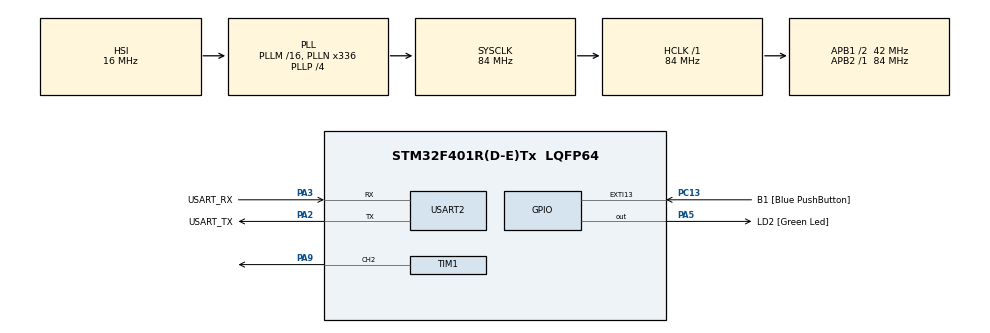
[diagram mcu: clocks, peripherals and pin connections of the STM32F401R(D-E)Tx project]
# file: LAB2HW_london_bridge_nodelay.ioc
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Mcu.Family=STM32F4
Mcu.Name=STM32F401R(D-E)Tx
Mcu.Package=LQFP64
Mcu.UserConstants=TIM1_PRESCALER,4000
NVIC.PriorityGroup=NVIC_PRIORITYGROUP_0
NVIC.TIM2_IRQn=true\:0\:0\:false\:false\:true\:true\:true
PA13.GPIO_Label=TMS
PA13.Mode=Serial_Wire
PA13.Signal=SYS_JTMS-SWDIO
PA14.GPIO_Label=TCK
PA14.Mode=Serial_Wire
PA14.Signal=SYS_JTCK-SWCLK
PA2.GPIO_Label=USART_TX
PA2.GPIO_Mode=GPIO_MODE_AF_PP
PA2.GPIO_PuPd=GPIO_NOPULL
PA2.GPIO_Speed=GPIO_SPEED_FREQ_LOW
PA2.Mode=Asynchronous
PA2.Signal=USART2_TX
PA3.GPIO_Label=USART_RX
PA3.GPIO_Mode=GPIO_MODE_AF_PP
PA3.GPIO_PuPd=GPIO_NOPULL
PA3.GPIO_Speed=GPIO_SPEED_FREQ_LOW
PA3.Mode=Asynchronous
PA3.Signal=USART2_RX
PA5.GPIO_Label=LD2 [Green Led]
PA5.GPIO_Mode=GPIO_MODE_OUTPUT_PP
PA5.GPIO_PuPd=GPIO_NOPULL
PA5.GPIO_Speed=GPIO_SPEED_FREQ_LOW
PA5.Signal=GPIO_Output
PA9.Signal=S_TIM1_CH2
PB3.GPIO_Label=SWO
PB3.Signal=SYS_JTDO-SWO
PC13-ANTI_TAMP.GPIO_Label=B1 [Blue PushButton]
PC13-ANTI_TAMP.GPIO_ModeDefaultEXTI=GPIO_MODE_IT_FALLING
PC13-ANTI_TAMP.GPIO_PuPd=GPIO_NOPULL
PC13-ANTI_TAMP.Signal=GPXTI13
PC14-OSC32_IN.Mode=LSE-External-Oscillator
PC14-OSC32_IN.Signal=RCC_OSC32_IN
PC15-OSC32_OUT.Mode=LSE-External-Oscillator
PC15-OSC32_OUT.Signal=RCC_OSC32_OUT
PH0\ -\ OSC_IN.Mode=HSE-External-Clock-Source
PH0\ -\ OSC_IN.Signal=RCC_OSC_IN
PH1\ -\ OSC_OUT.Mode=HSE-External-Clock-Source
PH1\ -\ OSC_OUT.Signal=RCC_OSC_OUT
ProjectManager.HeapSize=0x200
ProjectManager.StackSize=0x400
ProjectManager.TargetToolchain=STM32CubeIDE
RCC.48MHZClocksFreq_Value=48000000
RCC.AHBFreq_Value=84000000
RCC.APB1CLKDivider=RCC_HCLK_DIV2
RCC.APB1Freq_Value=42000000
RCC.APB1TimFreq_Value=84000000
RCC.APB2Freq_Value=84000000
RCC.APB2TimFreq_Value=84000000
RCC.CortexFreq_Value=84000000
RCC.HCLKFreq_Value=84000000
RCC.HSE_VALUE=8000000
RCC.HSI_VALUE=16000000
RCC.PLLN=336
RCC.PLLP=RCC_PLLP_DIV4
RCC.PLLQ=7
RCC.SYSCLKFreq_VALUE=84000000
RCC.SYSCLKSource=RCC_SYSCLKSOURCE_PLLCLK
RCC.VCOOutputFreq_Value=336000000
SH.S_TIM1_CH2.0=TIM1_CH2,PWM Generation2 CH2
TIM1.Channel-PWM\ Generation2\ CH2=TIM_CHANNEL_2
TIM1.Period=0
TIM1.Prescaler=TIM1_PRESCALER-1
TIM2.AutoReloadPreload=TIM_AUTORELOAD_PRELOAD_ENABLE
TIM2.Period=800
TIM2.Prescaler=4000
USART2.VirtualMode=VM_ASYNC
VP_TIM1_VS_ClockSourceINT.Mode=Internal
VP_TIM2_VS_ClockSourceINT.Mode=Internal
board=NUCLEO-F401RE

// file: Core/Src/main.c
/* USER CODE BEGIN Header */
/**
  ******************************************************************************
  * @file           : main.c
  * @brief          : Main program body
  ******************************************************************************
  * @attention
  *
  * <h2><center>&copy; Copyright (c) 2021 STMicroelectronics.
  * All rights reserved.</center></h2>
  *
  * This software component is licensed by ST under BSD 3-Clause license,
  * the "License"; You may not use this file except in compliance with the
  * License. You may obtain a copy of the License at:
  *                        opensource.org/licenses/BSD-3-Clause
  *
  ******************************************************************************
  */
/* USER CODE END Header */
#include "main.h"

/* USER CODE BEGIN Includes */
#include "stm32f4xx.h"
/* USER CODE END Includes */

/* USER CODE BEGIN PTD */
typedef struct  {
	int freq_ticks;
	int duration_ticks;
} note;

/* USER CODE END PTD */

/* USER CODE BEGIN PD */
#define C4 FREQ_TO_TICKS(262)
#define D4 FREQ_TO_TICKS(294)
#define E4 FREQ_TO_TICKS(330)
#define F4 FREQ_TO_TICKS(349)
#define G4 FREQ_TO_TICKS(392)
#define A5 FREQ_TO_TICKS(440)
#define B5 FREQ_TO_TICKS(494)

#define CLOCK_FREQ 84e6
// #define TIM1_PRESCALER 4000

#define SONG_LENGTH 13

#define BASE_MS 200

/* USER CODE END PD */

/* USER CODE BEGIN PM */
#define FREQ_TO_TICKS(freq) CLOCK_FREQ/(TIM1_PRESCALER*freq)

// #define MS_TO_TICKS(time) ... -- timer version
/* USER CODE END PM */

TIM_HandleTypeDef htim1;
TIM_HandleTypeDef htim2;

UART_HandleTypeDef huart2;

/* USER CODE BEGIN PV */
note song[SONG_LENGTH+1];
int song_index = 0;

int song_playing = 0;

/* USER CODE END PV */

void SystemClock_Config(void);
static void MX_GPIO_Init(void);
static void MX_USART2_UART_Init(void);
static void MX_TIM1_Init(void);
static void MX_TIM2_Init(void);

/* USER CODE BEGIN 0 */

void my_timer_load(int ticks)
{

  /* USER CODE BEGIN TIM1_Init 0 */

  /* USER CODE END TIM1_Init 0 */

  TIM_ClockConfigTypeDef sClockSourceConfig = {0};
  TIM_MasterConfigTypeDef sMasterConfig = {0};
  TIM_OC_InitTypeDef sConfigOC = {0};
  TIM_BreakDeadTimeConfigTypeDef sBreakDeadTimeConfig = {0};

  /* USER CODE BEGIN TIM1_Init 1 */

  /* USER CODE END TIM1_Init 1 */
  htim1.Instance = TIM1;
  htim1.Init.Prescaler = TIM1_PRESCALER-1;
  htim1.Init.CounterMode = TIM_COUNTERMODE_UP;
  htim1.Init.Period = ticks;
  htim1.Init.ClockDivision = TIM_CLOCKDIVISION_DIV1;
  htim1.Init.RepetitionCounter = 0;
  htim1.Init.AutoReloadPreload = TIM_AUTORELOAD_PRELOAD_DISABLE;
  if (HAL_TIM_Base_Init(&htim1) != HAL_OK)
  {
    Error_Handler();
  }
  sClockSourceConfig.ClockSource = TIM_CLOCKSOURCE_INTERNAL;
  if (HAL_TIM_ConfigClockSource(&htim1, &sClockSourceConfig) != HAL_OK)
  {
    Error_Handler();
  }
  if (HAL_TIM_PWM_Init(&htim1) != HAL_OK)
  {
    Error_Handler();
  }
  sMasterConfig.MasterOutputTrigger = TIM_TRGO_RESET;
  sMasterConfig.MasterSlaveMode = TIM_MASTERSLAVEMODE_DISABLE;
  if (HAL_TIMEx_MasterConfigSynchronization(&htim1, &sMasterConfig) != HAL_OK)
  {
    Error_Handler();
  }
  sConfigOC.OCMode = TIM_OCMODE_PWM1;
  sConfigOC.Pulse = ticks/2;
  sConfigOC.OCPolarity = TIM_OCPOLARITY_HIGH;
  sConfigOC.OCNPolarity = TIM_OCNPOLARITY_HIGH;
  sConfigOC.OCFastMode = TIM_OCFAST_DISABLE;
  sConfigOC.OCIdleState = TIM_OCIDLESTATE_RESET;
  sConfigOC.OCNIdleState = TIM_OCNIDLESTATE_RESET;
  if (HAL_TIM_PWM_ConfigChannel(&htim1, &sConfigOC, TIM_CHANNEL_2) != HAL_OK)
  {
    Error_Handler();
  }
  sBreakDeadTimeConfig.OffStateRunMode = TIM_OSSR_DISABLE;
  sBreakDeadTimeConfig.OffStateIDLEMode = TIM_OSSI_DISABLE;
  sBreakDeadTimeConfig.LockLevel = TIM_LOCKLEVEL_OFF;
  sBreakDeadTimeConfig.DeadTime = 0;
  sBreakDeadTimeConfig.BreakState = TIM_BREAK_DISABLE;
  sBreakDeadTimeConfig.BreakPolarity = TIM_BREAKPOLARITY_HIGH;
  sBreakDeadTimeConfig.AutomaticOutput = TIM_AUTOMATICOUTPUT_DISABLE;
  if (HAL_TIMEx_ConfigBreakDeadTime(&htim1, &sBreakDeadTimeConfig) != HAL_OK)
  {
    Error_Handler();
  }
  /* USER CODE BEGIN TIM1_Init 2 */

  /* USER CODE END TIM1_Init 2 */
  HAL_TIM_MspPostInit(&htim1);

}
void HAL_TIM_PeriodElapsedCallback(TIM_HandleTypeDef *htim)
{
	static int current_note = 0;
	static int remaining_ticks = 0;

	if(current_note < SONG_LENGTH+1){
		// if it's time for the next note AND it's not last note yet
		if((remaining_ticks == 0)){
			// load next note
			my_timer_load(song[current_note].freq_ticks);
			remaining_ticks = song[current_note].duration_ticks;
			  HAL_TIM_PWM_Start(&htim1, TIM_CHANNEL_2);
			current_note++; // advance note
		}
		else {
			// downcount ticks
			remaining_ticks--;
		}
	}
}

/* USER CODE END 0 */

int main(void)
{
  /* USER CODE BEGIN 1 */
  // time is multiplied by 4 so that we get an integer amount of ticks
	song[ 0].freq_ticks = G4;    song[ 0].duration_ticks = 1.25	*4; // lon
	song[ 1].freq_ticks = A5;	 song[ 1].duration_ticks = 0.75	*4; // don
	song[ 2].freq_ticks = G4;	 song[ 2].duration_ticks = 1	*4; // bridge
	song[ 3].freq_ticks = F4;	 song[ 3].duration_ticks = 1	*4; // is
	song[ 4].freq_ticks = E4;	 song[ 4].duration_ticks = 1	*4; // fal
	song[ 5].freq_ticks = F4;	 song[ 5].duration_ticks = 1	*4; // ling
	song[ 6].freq_ticks = G4;	 song[ 6].duration_ticks = 2	*4; // down
	song[ 7].freq_ticks = D4;	 song[ 7].duration_ticks = 1	*4; // fal
	song[ 8].freq_ticks = E4;	 song[ 8].duration_ticks = 1	*4; // ling
	song[ 9].freq_ticks = F4;	 song[ 9].duration_ticks = 2	*4; // down
	song[10].freq_ticks = E4;	 song[10].duration_ticks = 1	*4; // fal
	song[11].freq_ticks = F4;	 song[11].duration_ticks = 1	*4; // ling
	song[12].freq_ticks = G4;	 song[12].duration_ticks = 2	*4; // down

	// +++ END +++
	song[SONG_LENGTH].freq_ticks =  0;
	song[SONG_LENGTH].duration_ticks = 1*BASE_MS;

  /* USER CODE END 1 */

  /* MCU Configuration--------------------------------------------------------*/

  /* Reset of all peripherals, Initializes the Flash interface and the Systick. */
  HAL_Init();

  /* Configure the system clock */
  SystemClock_Config();

  /* Initialize all configured peripherals */
  MX_GPIO_Init();
  MX_USART2_UART_Init();
  MX_TIM1_Init();
  MX_TIM2_Init();
  /* USER CODE BEGIN 2 */

 if(HAL_TIM_Base_Start_IT(&htim2) != HAL_OK){
	  Error_Handler();
  }

  /* USER CODE END 2 */

  /* Infinite loop */
  while (1)
  {

  }
}

void SystemClock_Config(void)
{
  RCC_OscInitTypeDef RCC_OscInitStruct = {0};
  RCC_ClkInitTypeDef RCC_ClkInitStruct = {0};

  /** Configure the main internal regulator output voltage
  */
  __HAL_RCC_PWR_CLK_ENABLE();
  __HAL_PWR_VOLTAGESCALING_CONFIG(PWR_REGULATOR_VOLTAGE_SCALE2);
  /** Initializes the RCC Oscillators according to the specified parameters
  * in the RCC_OscInitTypeDef structure.
  */
  RCC_OscInitStruct.OscillatorType = RCC_OSCILLATORTYPE_HSI;
  RCC_OscInitStruct.HSIState = RCC_HSI_ON;
  RCC_OscInitStruct.HSICalibrationValue = RCC_HSICALIBRATION_DEFAULT;
  RCC_OscInitStruct.PLL.PLLState = RCC_PLL_ON;
  RCC_OscInitStruct.PLL.PLLSource = RCC_PLLSOURCE_HSI;
  RCC_OscInitStruct.PLL.PLLM = 16;
  RCC_OscInitStruct.PLL.PLLN = 336;
  RCC_OscInitStruct.PLL.PLLP = RCC_PLLP_DIV4;
  RCC_OscInitStruct.PLL.PLLQ = 7;
  if (HAL_RCC_OscConfig(&RCC_OscInitStruct) != HAL_OK)
  {
    Error_Handler();
  }
  /** Initializes the CPU, AHB and APB buses clocks
  */
  RCC_ClkInitStruct.ClockType = RCC_CLOCKTYPE_HCLK|RCC_CLOCKTYPE_SYSCLK
                              |RCC_CLOCKTYPE_PCLK1|RCC_CLOCKTYPE_PCLK2;
  RCC_ClkInitStruct.SYSCLKSource = RCC_SYSCLKSOURCE_PLLCLK;
  RCC_ClkInitStruct.AHBCLKDivider = RCC_SYSCLK_DIV1;
  RCC_ClkInitStruct.APB1CLKDivider = RCC_HCLK_DIV2;
  RCC_ClkInitStruct.APB2CLKDivider = RCC_HCLK_DIV1;

  if (HAL_RCC_ClockConfig(&RCC_ClkInitStruct, FLASH_LATENCY_2) != HAL_OK)
  {
    Error_Handler();
  }
}

static void MX_TIM1_Init(void)
{

  TIM_ClockConfigTypeDef sClockSourceConfig = {0};
  TIM_MasterConfigTypeDef sMasterConfig = {0};
  TIM_OC_InitTypeDef sConfigOC = {0};
  TIM_BreakDeadTimeConfigTypeDef sBreakDeadTimeConfig = {0};

  htim1.Instance = TIM1;
  htim1.Init.Prescaler = TIM1_PRESCALER-1;
  htim1.Init.CounterMode = TIM_COUNTERMODE_UP;
  htim1.Init.Period = 0;
  htim1.Init.ClockDivision = TIM_CLOCKDIVISION_DIV1;
  htim1.Init.RepetitionCounter = 0;
  htim1.Init.AutoReloadPreload = TIM_AUTORELOAD_PRELOAD_DISABLE;
  if (HAL_TIM_Base_Init(&htim1) != HAL_OK)
  {
    Error_Handler();
  }
  sClockSourceConfig.ClockSource = TIM_CLOCKSOURCE_INTERNAL;
  if (HAL_TIM_ConfigClockSource(&htim1, &sClockSourceConfig) != HAL_OK)
  {
    Error_Handler();
  }
  if (HAL_TIM_PWM_Init(&htim1) != HAL_OK)
  {
    Error_Handler();
  }
  sMasterConfig.MasterOutputTrigger = TIM_TRGO_RESET;
  sMasterConfig.MasterSlaveMode = TIM_MASTERSLAVEMODE_DISABLE;
  if (HAL_TIMEx_MasterConfigSynchronization(&htim1, &sMasterConfig) != HAL_OK)
  {
    Error_Handler();
  }
  sConfigOC.OCMode = TIM_OCMODE_PWM1;
  sConfigOC.Pulse = 0;
  sConfigOC.OCPolarity = TIM_OCPOLARITY_HIGH;
  sConfigOC.OCNPolarity = TIM_OCNPOLARITY_HIGH;
  sConfigOC.OCFastMode = TIM_OCFAST_DISABLE;
  sConfigOC.OCIdleState = TIM_OCIDLESTATE_RESET;
  sConfigOC.OCNIdleState = TIM_OCNIDLESTATE_RESET;
  if (HAL_TIM_PWM_ConfigChannel(&htim1, &sConfigOC, TIM_CHANNEL_2) != HAL_OK)
  {
    Error_Handler();
  }
  sBreakDeadTimeConfig.OffStateRunMode = TIM_OSSR_DISABLE;
  sBreakDeadTimeConfig.OffStateIDLEMode = TIM_OSSI_DISABLE;
  sBreakDeadTimeConfig.LockLevel = TIM_LOCKLEVEL_OFF;
  sBreakDeadTimeConfig.DeadTime = 0;
  sBreakDeadTimeConfig.BreakState = TIM_BREAK_DISABLE;
  sBreakDeadTimeConfig.BreakPolarity = TIM_BREAKPOLARITY_HIGH;
  sBreakDeadTimeConfig.AutomaticOutput = TIM_AUTOMATICOUTPUT_DISABLE;
  if (HAL_TIMEx_ConfigBreakDeadTime(&htim1, &sBreakDeadTimeConfig) != HAL_OK)
  {
    Error_Handler();
  }
  HAL_TIM_MspPostInit(&htim1);

}

static void MX_TIM2_Init(void)
{

  TIM_ClockConfigTypeDef sClockSourceConfig = {0};
  TIM_MasterConfigTypeDef sMasterConfig = {0};

  htim2.Instance = TIM2;
  htim2.Init.Prescaler = 4000;
  htim2.Init.CounterMode = TIM_COUNTERMODE_UP;
  htim2.Init.Period = 800;
  htim2.Init.ClockDivision = TIM_CLOCKDIVISION_DIV1;
  htim2.Init.AutoReloadPreload = TIM_AUTORELOAD_PRELOAD_ENABLE;
  if (HAL_TIM_Base_Init(&htim2) != HAL_OK)
  {
    Error_Handler();
  }
  sClockSourceConfig.ClockSource = TIM_CLOCKSOURCE_INTERNAL;
  if (HAL_TIM_ConfigClockSource(&htim2, &sClockSourceConfig) != HAL_OK)
  {
    Error_Handler();
  }
  sMasterConfig.MasterOutputTrigger = TIM_TRGO_RESET;
  sMasterConfig.MasterSlaveMode = TIM_MASTERSLAVEMODE_DISABLE;
  if (HAL_TIMEx_MasterConfigSynchronization(&htim2, &sMasterConfig) != HAL_OK)
  {
    Error_Handler();
  }

}

static void MX_USART2_UART_Init(void)
{

  huart2.Instance = USART2;
  huart2.Init.BaudRate = 115200;
  huart2.Init.WordLength = UART_WORDLENGTH_8B;
  huart2.Init.StopBits = UART_STOPBITS_1;
  huart2.Init.Parity = UART_PARITY_NONE;
  huart2.Init.Mode = UART_MODE_TX_RX;
  huart2.Init.HwFlowCtl = UART_HWCONTROL_NONE;
  huart2.Init.OverSampling = UART_OVERSAMPLING_16;
  if (HAL_UART_Init(&huart2) != HAL_OK)
  {
    Error_Handler();
  }

}

static void MX_GPIO_Init(void)
{
  GPIO_InitTypeDef GPIO_InitStruct = {0};

  /* GPIO Ports Clock Enable */
  __HAL_RCC_GPIOC_CLK_ENABLE();
  __HAL_RCC_GPIOH_CLK_ENABLE();
  __HAL_RCC_GPIOA_CLK_ENABLE();
  __HAL_RCC_GPIOB_CLK_ENABLE();

  /*Configure GPIO pin Output Level */
  HAL_GPIO_WritePin(LD2_GPIO_Port, LD2_Pin, GPIO_PIN_RESET);

  /*Configure GPIO pin : B1_Pin */
  GPIO_InitStruct.Pin = B1_Pin;
  GPIO_InitStruct.Mode = GPIO_MODE_IT_FALLING;
  GPIO_InitStruct.Pull = GPIO_NOPULL;
  HAL_GPIO_Init(B1_GPIO_Port, &GPIO_InitStruct);

  /*Configure GPIO pin : LD2_Pin */
  GPIO_InitStruct.Pin = LD2_Pin;
  GPIO_InitStruct.Mode = GPIO_MODE_OUTPUT_PP;
  GPIO_InitStruct.Pull = GPIO_NOPULL;
  GPIO_InitStruct.Speed = GPIO_SPEED_FREQ_LOW;
  HAL_GPIO_Init(LD2_GPIO_Port, &GPIO_InitStruct);

}

void Error_Handler(void)
{
  __disable_irq();
  while (1)
  {
  }
}

/************************ (C) COPYRIGHT STMicroelectronics *****END OF FILE****/
